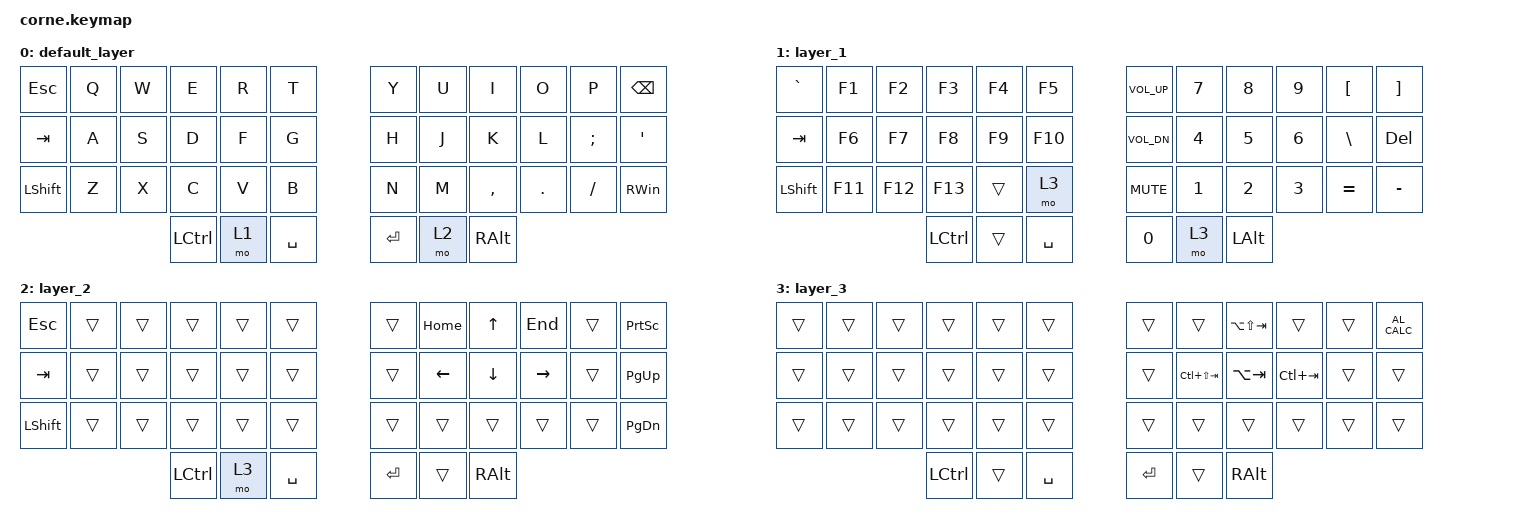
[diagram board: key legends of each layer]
/*
 * Copyright (c) 2020 The ZMK Contributors
 *
 * SPDX-License-Identifier: MIT
 */

#include <behaviors.dtsi>
#include <dt-bindings/zmk/keys.h>
#include <dt-bindings/zmk/bt.h>


/ {
        keymap {
                compatible = "zmk,keymap";

                default_layer {
// -----------------------------------------------------------------------------------------
// | ESC  |  Q  |  W  |  E  |  R  |  T  |   |  Y  |  U   |  I  |  O  |  P  | BSPC |
// | TAB  |  A  |  S  |  D  |  F  |  G  |   |  H  |  J   |  K  |  L  |  ;  |  '   |
// | SHFT |  Z  |  X  |  C  |  V  |  B  |   |  N  |  M   |  ,  |  .  |  /  | RWIN  |
//                   | LCTRL | L1 | SPC |   | ENT |  L2  | ALT |
                        bindings = <
   &kp ESC   &kp Q &kp W &kp E &kp R &kp T   &kp Y &kp U  &kp I     &kp O   &kp P    &kp BSPC
   &kp TAB   &kp A &kp S &kp D &kp F &kp G   &kp H &kp J  &kp K     &kp L   &kp SEMI &kp SQT
   &kp LSHFT &kp Z &kp X &kp C &kp V &kp B   &kp N &kp M  &kp COMMA &kp DOT &kp FSLH &kp RWIN
                 &kp LCTRL &mo 1 &kp SPACE   &kp RET &mo 2 &kp RALT
                        >;
                };

                layer_1 {
// -----------------------------------------------------------------------------------------
// |  GRAVE |  F1  |  F2  |  F3  |  F4  |  F5  |   |  VOL+  |  7  |  8  |  9  |  [  |  ]  |
// |  TAB   |  F6  |  F7  |  F8  |  F9  |  F10 |   |  VOL-  |  4  |  5  |  6  |  \  | DEL |
// |  SHFT  |  F11 |  F12 |  F13 |      |  L3  |   |  MUTE  |  1  |  2  |  3  |  =  |  -  |
//                        | LCTRL |     |  SPC |   | 0 |     | ALT |
                        bindings = <
   &kp GRAVE &kp F1  &kp F2  &kp F3  &kp F4 &kp F5    &kp C_VOL_UP &kp N7 &kp N8 &kp N9 &kp LBKT &kp RBKT
   &kp TAB   &kp F6  &kp F7  &kp F8  &kp F9 &kp F10   &kp C_VOL_DN &kp N4 &kp N5 &kp N6 &kp BSLH &kp DELETE
   &kp LSHFT &kp F11 &kp F12 &kp F13 &trans &mo 3     &kp C_MUTE   &kp N1 &kp N2 &kp N3 &kp EQUAL &kp MINUS
                       &kp LCTRL &trans &kp SPACE     &kp N0   &mo 3   &kp LALT
                        >;
                };

                layer_2 {
// -----------------------------------------------------------------------------------------
// | ESC  |     |     |     |     |     |   |     |  HOME  |  UP    |  END   |    | PRINTSCREEN |
// | TAB  |     |     |     |     |     |   |     |  LEFT  |  DOWN  |  RIGHT  |    |  PG_UP   |
// | SHFT |     |     |     |     |     |   |     |        |        |     |     |  PG_DN  |
//                  | LCTRL |     | SPC |   | ENT |     | ALT |
                        bindings = <
   &kp ESC   &trans &trans &trans &trans &trans      &trans &kp HOME &kp UP    &kp END   &trans &kp PSCRN
   &kp TAB   &trans &trans &trans &trans &trans      &trans &kp LEFT &kp DOWN  &kp RIGHT &trans &kp PG_UP
   &kp LSHFT &trans &trans &trans &trans &trans      &trans &trans   &trans    &trans    &trans &kp PG_DN
                      &kp LCTRL &mo 3 &kp SPACE      &kp RET &trans  &kp RALT
                        >;
                };

                layer_3 {
// -----------------------------------------------------------------------------------------
// |     |     |     |     |     |       |   |           |  NEXTWIN  |          |    | CALCULATOR |
// |     |     |     |     |     |       |   |     |  PREVTAB  |  PREVWIN  |  NEXTAB  |    |            |
// |     |     |     |     |     |       |   |     |           |           |          |    |            |
//                 | LCTRL |     | SPC   |   | ENT |           | ALT |
                        bindings = <
   &trans &trans &trans &trans &trans &trans      &trans &trans          &kp LA(LS(TAB)) &trans &trans &kp C_AL_CALC
   &trans &trans &trans &trans &trans &trans      &trans &kp LC(LS(TAB)) &kp LA(TAB)     &kp LC(TAB) &trans &trans
   &trans &trans &trans &trans &trans &trans      &trans &trans &trans &trans &trans &trans
                  &kp LCTRL &trans &kp SPACE      &kp RET &trans &kp RALT
                        >;
                };

        };
};
